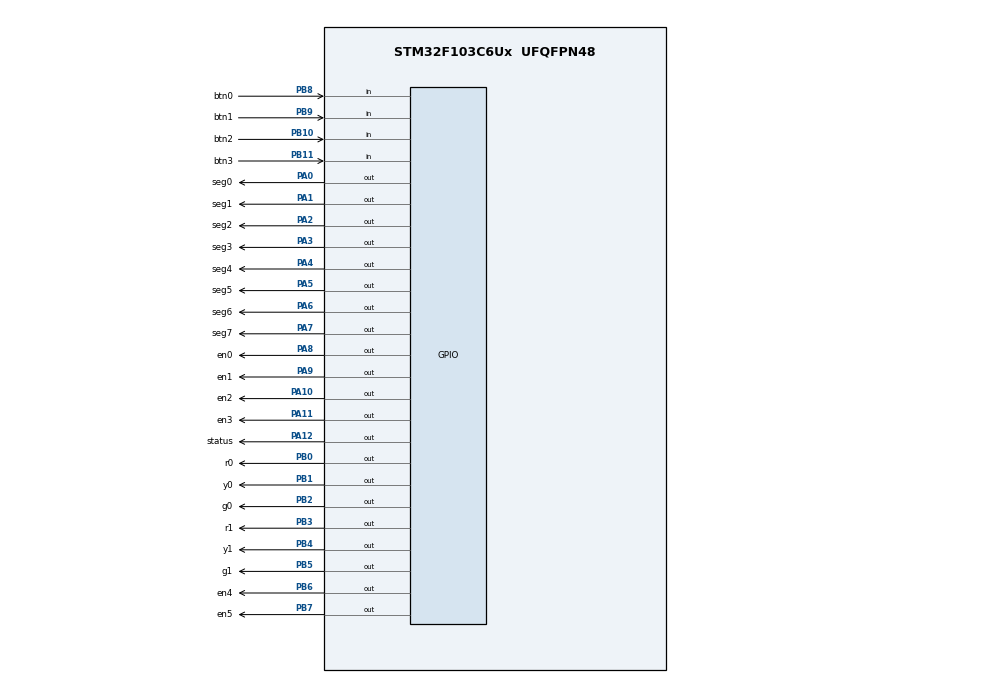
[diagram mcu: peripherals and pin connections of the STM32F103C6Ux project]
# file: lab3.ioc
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Mcu.Family=STM32F1
Mcu.Name=STM32F103C6Ux
Mcu.Package=UFQFPN48
NVIC.PriorityGroup=NVIC_PRIORITYGROUP_4
NVIC.TIM2_IRQn=true\:0\:0\:false\:false\:true\:true\:true
PA0-WKUP.GPIO_Label=seg0
PA0-WKUP.Signal=GPIO_Output
PA1.GPIO_Label=seg1
PA1.Signal=GPIO_Output
PA10.GPIO_Label=en2
PA10.Signal=GPIO_Output
PA11.GPIO_Label=en3
PA11.Signal=GPIO_Output
PA12.GPIO_Label=status
PA12.Signal=GPIO_Output
PA2.GPIO_Label=seg2
PA2.Signal=GPIO_Output
PA3.GPIO_Label=seg3
PA3.Signal=GPIO_Output
PA4.GPIO_Label=seg4
PA4.Signal=GPIO_Output
PA5.GPIO_Label=seg5
PA5.Signal=GPIO_Output
PA6.GPIO_Label=seg6
PA6.PinState=GPIO_PIN_RESET
PA6.Signal=GPIO_Output
PA7.GPIO_Label=seg7
PA7.Signal=GPIO_Output
PA8.GPIO_Label=en0
PA8.Signal=GPIO_Output
PA9.GPIO_Label=en1
PA9.Signal=GPIO_Output
PB0.GPIO_Label=r0
PB0.Signal=GPIO_Output
PB1.GPIO_Label=y0
PB1.Signal=GPIO_Output
PB10.GPIO_Label=btn2
PB10.Signal=GPIO_Input
PB11.GPIO_Label=btn3
PB11.Signal=GPIO_Input
PB2.GPIO_Label=g0
PB2.Signal=GPIO_Output
PB3.GPIO_Label=r1
PB3.Signal=GPIO_Output
PB4.GPIO_Label=y1
PB4.Signal=GPIO_Output
PB5.GPIO_Label=g1
PB5.Signal=GPIO_Output
PB6.GPIO_Label=en4
PB6.PinState=GPIO_PIN_SET
PB6.Signal=GPIO_Output
PB7.GPIO_Label=en5
PB7.Signal=GPIO_Output
PB8.GPIO_Label=btn0
PB8.Signal=GPIO_Input
PB9.GPIO_Label=btn1
PB9.Signal=GPIO_Input
ProjectManager.HeapSize=0x200
ProjectManager.StackSize=0x400
ProjectManager.TargetToolchain=STM32CubeIDE
RCC.APB1Freq_Value=8000000
RCC.APB2Freq_Value=8000000
TIM2.Period=9
TIM2.Prescaler=7999
VP_SYS_VS_ND.Mode=No_Debug
VP_TIM2_VS_ClockSourceINT.Mode=Internal
board=custom

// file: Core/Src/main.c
/* USER CODE BEGIN Header */
/**
  ******************************************************************************
  * @file           : main.c
  * @brief          : Main program body
  ******************************************************************************
  * @attention
  *
  * <h2><center>&copy; Copyright (c) 2026 STMicroelectronics.
  * All rights reserved.</center></h2>
  *
  * This software component is licensed by ST under BSD 3-Clause license,
  * the "License"; You may not use this file except in compliance with the
  * License. You may obtain a copy of the License at:
  *                        opensource.org/licenses/BSD-3-Clause
  *
  ******************************************************************************
  */
/* USER CODE END Header */
#include "main.h"

/* USER CODE BEGIN Includes */
#include "global.h"
#include "software_timer.h"
#include "button.h"
#include "led.h"
#include "fsm_automatic.h"
#include "fsm_manual.h"

/* USER CODE END Includes */

TIM_HandleTypeDef htim2;

void SystemClock_Config(void);
static void MX_GPIO_Init(void);
static void MX_TIM2_Init(void);

/* USER CODE BEGIN 0 */
void HAL_TIM_PeriodElapsedCallback(TIM_HandleTypeDef *htim)
{
  if (htim->Instance == TIM2) {
    timerRun();
    button_reading();
  }
}
/* USER CODE END 0 */

int main(void)
{

  /* MCU Configuration--------------------------------------------------------*/

  /* Reset of all peripherals, Initializes the Flash interface and the Systick. */
  HAL_Init();

  /* Configure the system clock */
  SystemClock_Config();

  /* Initialize all configured peripherals */
  MX_GPIO_Init();
  MX_TIM2_Init();
  /* USER CODE BEGIN 2 */
  led_all_off();
  button_init_state();
  fsm_manual_init();
  fsm_automatic_init();
  if (HAL_TIM_Base_Start_IT(&htim2) != HAL_OK) Error_Handler();
  /* USER CODE END 2 */

  /* Infinite loop */
  /* USER CODE BEGIN WHILE */
  while (1)
  {
    fsm_for_input_processing();

    switch (app_mode) {
      case MODE_NORMAL:
        fsm_automatic_run();
        break;
      case MODE_SET_RED:
      case MODE_SET_AMBER:
      case MODE_SET_GREEN:
        fsm_manual_run();
        break;
      default:
        app_mode = MODE_NORMAL;
        fsm_automatic_init();
        break;
    }

    display_scan();
    /* USER CODE END WHILE */

  }
}

void SystemClock_Config(void)
{
  RCC_OscInitTypeDef RCC_OscInitStruct = {0};
  RCC_ClkInitTypeDef RCC_ClkInitStruct = {0};

  /** Initializes the RCC Oscillators according to the specified parameters
  * in the RCC_OscInitTypeDef structure.
  */
  RCC_OscInitStruct.OscillatorType = RCC_OSCILLATORTYPE_HSI;
  RCC_OscInitStruct.HSIState = RCC_HSI_ON;
  RCC_OscInitStruct.HSICalibrationValue = RCC_HSICALIBRATION_DEFAULT;
  RCC_OscInitStruct.PLL.PLLState = RCC_PLL_NONE;
  if (HAL_RCC_OscConfig(&RCC_OscInitStruct) != HAL_OK)
  {
    Error_Handler();
  }
  /** Initializes the CPU, AHB and APB buses clocks
  */
  RCC_ClkInitStruct.ClockType = RCC_CLOCKTYPE_HCLK|RCC_CLOCKTYPE_SYSCLK
                              |RCC_CLOCKTYPE_PCLK1|RCC_CLOCKTYPE_PCLK2;
  RCC_ClkInitStruct.SYSCLKSource = RCC_SYSCLKSOURCE_HSI;
  RCC_ClkInitStruct.AHBCLKDivider = RCC_SYSCLK_DIV1;
  RCC_ClkInitStruct.APB1CLKDivider = RCC_HCLK_DIV1;
  RCC_ClkInitStruct.APB2CLKDivider = RCC_HCLK_DIV1;

  if (HAL_RCC_ClockConfig(&RCC_ClkInitStruct, FLASH_LATENCY_0) != HAL_OK)
  {
    Error_Handler();
  }
}

static void MX_TIM2_Init(void)
{

  TIM_ClockConfigTypeDef sClockSourceConfig = {0};
  TIM_MasterConfigTypeDef sMasterConfig = {0};

  htim2.Instance = TIM2;
  htim2.Init.Prescaler = 7999;
  htim2.Init.CounterMode = TIM_COUNTERMODE_UP;
  htim2.Init.Period = 9;
  htim2.Init.ClockDivision = TIM_CLOCKDIVISION_DIV1;
  htim2.Init.AutoReloadPreload = TIM_AUTORELOAD_PRELOAD_DISABLE;
  if (HAL_TIM_Base_Init(&htim2) != HAL_OK)
  {
    Error_Handler();
  }
  sClockSourceConfig.ClockSource = TIM_CLOCKSOURCE_INTERNAL;
  if (HAL_TIM_ConfigClockSource(&htim2, &sClockSourceConfig) != HAL_OK)
  {
    Error_Handler();
  }
  sMasterConfig.MasterOutputTrigger = TIM_TRGO_RESET;
  sMasterConfig.MasterSlaveMode = TIM_MASTERSLAVEMODE_DISABLE;
  if (HAL_TIMEx_MasterConfigSynchronization(&htim2, &sMasterConfig) != HAL_OK)
  {
    Error_Handler();
  }

}

static void MX_GPIO_Init(void)
{
  GPIO_InitTypeDef GPIO_InitStruct = {0};

  /* GPIO Ports Clock Enable */
  __HAL_RCC_GPIOA_CLK_ENABLE();
  __HAL_RCC_GPIOB_CLK_ENABLE();

  /*Configure GPIO pin Output Level */
  HAL_GPIO_WritePin(GPIOA, seg0_Pin|seg1_Pin|seg2_Pin|seg3_Pin
                          |seg4_Pin|seg5_Pin|seg6_Pin|seg7_Pin
                          |en0_Pin|en1_Pin|en2_Pin|en3_Pin
                          |status_Pin, GPIO_PIN_RESET);

  /*Configure GPIO pin Output Level */
  HAL_GPIO_WritePin(GPIOB, r0_Pin|y0_Pin|g0_Pin|r1_Pin
                          |y1_Pin|g1_Pin|en5_Pin, GPIO_PIN_RESET);

  /*Configure GPIO pin Output Level */
  HAL_GPIO_WritePin(en4_GPIO_Port, en4_Pin, GPIO_PIN_SET);

  /*Configure GPIO pins : seg0_Pin seg1_Pin seg2_Pin seg3_Pin
                           seg4_Pin seg5_Pin seg6_Pin seg7_Pin
                           en0_Pin en1_Pin en2_Pin en3_Pin
                           status_Pin */
  GPIO_InitStruct.Pin = seg0_Pin|seg1_Pin|seg2_Pin|seg3_Pin
                          |seg4_Pin|seg5_Pin|seg6_Pin|seg7_Pin
                          |en0_Pin|en1_Pin|en2_Pin|en3_Pin
                          |status_Pin;
  GPIO_InitStruct.Mode = GPIO_MODE_OUTPUT_PP;
  GPIO_InitStruct.Pull = GPIO_NOPULL;
  GPIO_InitStruct.Speed = GPIO_SPEED_FREQ_LOW;
  HAL_GPIO_Init(GPIOA, &GPIO_InitStruct);

  /*Configure GPIO pins : r0_Pin y0_Pin g0_Pin r1_Pin
                           y1_Pin g1_Pin en4_Pin en5_Pin */
  GPIO_InitStruct.Pin = r0_Pin|y0_Pin|g0_Pin|r1_Pin
                          |y1_Pin|g1_Pin|en4_Pin|en5_Pin;
  GPIO_InitStruct.Mode = GPIO_MODE_OUTPUT_PP;
  GPIO_InitStruct.Pull = GPIO_NOPULL;
  GPIO_InitStruct.Speed = GPIO_SPEED_FREQ_LOW;
  HAL_GPIO_Init(GPIOB, &GPIO_InitStruct);

  /*Configure GPIO pins : btn2_Pin btn3_Pin btn0_Pin btn1_Pin */
  GPIO_InitStruct.Pin = btn2_Pin|btn3_Pin|btn0_Pin|btn1_Pin;
  GPIO_InitStruct.Mode = GPIO_MODE_INPUT;
  GPIO_InitStruct.Pull = GPIO_NOPULL;
  HAL_GPIO_Init(GPIOB, &GPIO_InitStruct);

}

void Error_Handler(void)
{
  __disable_irq();
  while (1)
  {
  }
}

/************************ (C) COPYRIGHT STMicroelectronics *****END OF FILE****/
